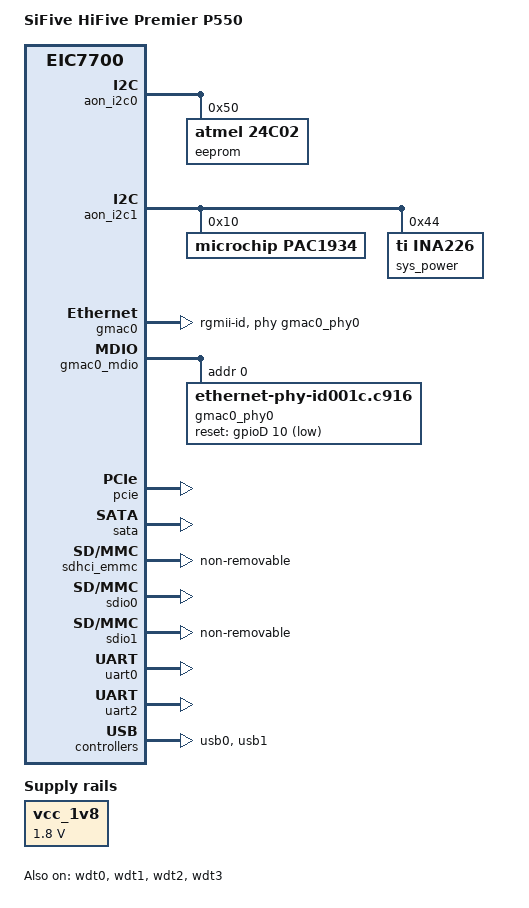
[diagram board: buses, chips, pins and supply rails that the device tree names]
// SPDX-License-Identifier: (GPL-2.0 OR MIT)
/*
 * Copyright (c) 2024, Beijing ESWIN Computing Technology Co., Ltd.
 */

/dts-v1/;

#include "eic7700.dtsi"
#include "eic7700-pinctrl.dtsi"

/ {
	compatible = "sifive,hifive-premier-p550", "eswin,eic7700";
	model = "SiFive HiFive Premier P550";

	aliases {
		ethernet0 = &gmac0;
		mmc0 = &sdhci_emmc;
		mmc1 = &sdio0;
		mmc2 = &sdio1;
		serial0 = &uart0;
	};

	chosen {
		stdout-path = "serial0:115200n8";
	};

	reserved-memory {
		#address-cells = <2>;
		#size-cells = <2>;
		ranges;

		linux,cma {
			compatible = "shared-dma-pool";
			reusable;
			size = <0x0 0x20000000>;
			alignment = <0x0 0x1000>;
			linux,cma-default;
		};
	};

	vcc_1v8: vcc1v8 {
		 compatible = "regulator-fixed";
		 regulator-name = "vcc1v8";
		 regulator-always-on;
		 regulator-boot-on;
		 regulator-min-microvolt = <1800000>;
		 regulator-max-microvolt = <1800000>;
	 };
};

&xtal {
	clock-frequency = <24000000>;
	clock-output-names = "xtal24m";
};

&gpio0_pins {
	bias-disable;
	input-enable;
};

&gpio5_pins {
	bias-disable;
	input-enable;
};

&gpio11_pins {
	bias-disable;
	input-enable;
};

&gpio14_pins {
	bias-pull-up;
	input-disable;
};

&gpio15_pins {
	bias-disable;
	input-enable;
};

&gpio28_pins {
	bias-disable;
	input-enable;
};

&gpio43_pins {
	bias-disable;
	input-disable;
};

&gpio71_pins {
	bias-pull-up;
	input-disable;
};

&gpio74_pins {
	bias-pull-up;
	input-disable;
};

&gpio76_pins {
	bias-disable;
	input-disable;
};

&gpio77_pins {
	bias-pull-up;
	input-disable;
};

&gpio79_pins {
	bias-disable;
	input-disable;
};

&gpio80_pins {
	bias-pull-up;
	input-disable;
};

&gpio82_pins {
	bias-pull-up;
	input-disable;
};

&gpio84_pins {
	bias-disable;
	input-disable;
};

&gpio85_pins {
	bias-pull-up;
	input-disable;
};

&gpio94_pins {
	bias-disable;
	input-disable;
};

&gpio106_pins {
	bias-disable;
	input-disable;
};

&gpio111_pins {
	bias-disable;
	input-disable;
};


&aon_i2c0 {
	status = "okay";
	eeprom@50 {
		compatible = "atmel,24c02";
		reg = <0x50>;
	};
};

&aon_i2c1 {
	status = "okay";
	pac1934@10 {
		compatible = "microchip,pac1934";
		reg = <0x10>;
		#address-cells = <1>;
		#size-cells = <0>;

		channel@1 {
			reg = <0x1>;
			shunt-resistor-micro-ohms = <1000>;
			label = "VDD_SOM";
		};

		channel@2 {
			reg = <0x2>;
			shunt-resistor-micro-ohms = <1000>;
			label = "VDD_SOC";
		};

		channel@3 {
			reg = <0x3>;
			shunt-resistor-micro-ohms = <1000>;
			label = "VDD_CPU";
		};

		channel@4 {
			reg = <0x4>;
			shunt-resistor-micro-ohms = <1000>;
			label = "VDD_LPDDR";
		};
	};

	ina226@44 {
		compatible = "ti,ina226";
		reg = <0x44>;
		#io-channel-cells = <1>;
		label = "sys_power";
		shunt-resistor = <1000>;
	};
};

&gmac0 {
	phy-handle = <&gmac0_phy0>;
	phy-mode = "rgmii-id";
	pinctrl-names = "default";
	pinctrl-0 = <&gpio106_pins>;
	rx-internal-delay-ps = <20>;
	tx-internal-delay-ps = <100>;
	status = "okay";
};

&gmac0_mdio {
	gmac0_phy0: ethernet-phy@0 {
		compatible = "ethernet-phy-id001c.c916";
		reg = <0>;
		reset-gpios = <&gpioD 10 GPIO_ACTIVE_LOW>;
		reset-assert-us = <10000>;
		reset-deassert-us = <80000>;
	};
};

&pcie {
	status = "okay";
};

&pinctrl {
	vrgmii-supply = <&vcc_1v8>;
};

&sata {
	status = "okay";
};

&sdhci_emmc {
	eswin,drive-impedance-ohms = <50>;
	mmc-hs400-1_8v;
	no-sd;
	no-sdio;
	non-removable;
	status = "okay";
};

&sdio0 {
	eswin,drive-impedance-ohms = <33>;
	no-mmc;
	no-sdio;
	status = "okay";
};

&sdio1 {
	eswin,drive-impedance-ohms = <33>;
	no-mmc;
	no-sd;
	non-removable;
	status = "okay";
};

&uart0 {
	status = "okay";
};

&uart2 {
	status = "okay";
};

&usb0 {
	wakeup-source;
	snps,dis_enblslpm_quirk;
	snps,dis-u2-freeclk-exists-quirk;
	snps,dis_u2_susphy_quirk;
	snps,dis-del-phy-power-chg-quirk;
	snps,parkmode-disable-ss-quirk;
	status = "okay";
};

&usb1 {
	wakeup-source;
	snps,dis_enblslpm_quirk;
	snps,dis-u2-freeclk-exists-quirk;
	snps,dis_u2_susphy_quirk;
	snps,dis-del-phy-power-chg-quirk;
	snps,parkmode-disable-ss-quirk;
	status = "okay";
};

&wdt0 {
	status = "okay";
};

&wdt1 {
	status = "okay";
};

&wdt2 {
	status = "okay";
};

&wdt3 {
	status = "okay";
};

